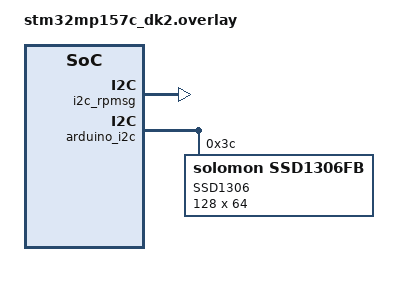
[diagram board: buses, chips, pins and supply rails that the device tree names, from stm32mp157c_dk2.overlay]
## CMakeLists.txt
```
cmake_minimum_required(VERSION 3.13.1)
# Copyright (c) 2019  STMicroelectronics
#
# SPDX-License-Identifier: Apache-2.0
#

set(SHIELD x_nucleo_iks01a2)

include($ENV{ZEPHYR_BASE}/cmake/app/boilerplate.cmake NO_POLICY_SCOPE)

project(openamp_rsc_table_remote)

zephyr_compile_definitions(
  -DMETAL_MAX_DEVICE_REGIONS=2
  -DVIRTIO_SLAVE_ONLY
  )

target_include_directories(app PRIVATE $ENV{ZEPHYR_BASE}/drivers)
target_include_directories(app PRIVATE ${LIBMETAL_INCLUDE_DIR} ${OPENAMP_INCLUDE_DIR} ${PLATFORM_DIR})

target_sources(app PRIVATE src/main_remote.c)
target_include_directories(app PRIVATE ${CMAKE_CURRENT_SOURCE_DIR}/..)
```

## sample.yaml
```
sample:
    description: This app provides an example of how to integrate OpenAMP
        with Zephyr in cluding a esource table.
    name: OpenAMP with resource table example integration
tests:
    sample.subsys.ipc.openamp_rs_table.i2c:
        build_only: true
        platform_whitelist: stm32mp157c_dk2
        tags: ipm
        depends_on: arduino_i2c
```

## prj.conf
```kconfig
CONFIG_KERNEL_BIN_NAME="zephyr_openamp_i2c"
CONFIG_PRINTK=n
CONFIG_IPM=y
CONFIG_IPM_MCUX=y
CONFIG_PLATFORM_SPECIFIC_INIT=n
CONFIG_MAIN_STACK_SIZE=4096
CONFIG_HEAP_MEM_POOL_SIZE=16384
CONFIG_OPENAMP=y
CONFIG_RSC_TABLE_NUM_RPMSG_BUFF=8
CONFIG_RSC_TABLE=y
CONFIG_I2C=y
CONFIG_I2C_STM32_INTERRUPT=y
CONFIG_I2C_RPMSG=y
CONFIG_I2C_SLAVE=y

# add display
CONFIG_DISPLAY=y
CONFIG_CFB_LOG_LEVEL_DBG=y
CONFIG_CHARACTER_FRAMEBUFFER=y
CONFIG_SSD1306=y

#sensor
CONFIG_SENSOR=y
CONFIG_HTS221=y
CONFIG_LPS22HB=y
CONFIG_HTS221_TRIGGER_NONE=y
CONFIG_LIS2MDL_TRIGGER_NONE=y
```

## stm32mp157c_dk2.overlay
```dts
/*
 * Copyright (c) 2019, STMICROLECTRONICS
 *
 * SPDX-License-Identifier: Apache-2.0
 */

/ {
	chosen {
		/*
		 * shared memory reserved for the inter-processor communication
		 */
		zephyr,ipc_shm = &mcusram3;
	};

	mcusram3: memory1@10040000 {
		compatible = "mmio-sram";
		reg = <0x10040000 DT_SIZE_K(64)>;
	};
};

&mcusram {
	reg = <0x10000000 DT_SIZE_K(256)>;
};

&i2c_rpmsg {
	status = "okay";
};

&arduino_i2c {
	status = "okay";
	ssd1306@3c {
		compatible = "solomon,ssd1306fb";
		reg = <0x3c>;
		label = "SSD1306";
		width = <128>;
		height = <64>;
		segment-offset = <0>;
		page-offset = <0>;
		display-offset = <0>;
		segment-remap;
		com-invdir;
		prechargep = <0x22>;
	};
};
```

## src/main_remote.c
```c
/*
 * Copyright (c) 2019, STMICROLECTRONICS
 *
 * SPDX-License-Identifier: Apache-2.0
 */

#include <init.h>
#include <zephyr.h>
#include <device.h>
#include <string.h>
#include <stdlib.h>
#include <string.h>
#include <stdio.h>
#include <drivers/sensor.h>

#include <ipm.h>

#include <drivers/i2c.h>

#include <openamp/open_amp.h>
#include <metal/device.h>
#include <resource_table.h>

/* Display / Framebuffer */
#include <display/cfb.h>
#if defined(CONFIG_SSD1306)
#define DISPLAY_DRIVER		"SSD1306"
#endif

#include <logging/log.h>
LOG_MODULE_REGISTER(openamp_rsc_table, LOG_LEVEL_DBG);

#define SHM_DEVICE_NAME	"shm"
#define I2C_RPMSG_DEV "RPMSG_I2C"
#define I2C_DEV "I2C_5"
#define I2C_REMOTE_DISP_ADDR 0x3D

/* constant derivated from linker symbols */
#define SHM_START_ADDR	DT_IPC_SHM_BASE_ADDRESS
#define SHM_SIZE	(DT_IPC_SHM_SIZE * 1024)

#define APP_TASK_STACK_SIZE (4096)
K_THREAD_STACK_DEFINE(thread_stack, APP_TASK_STACK_SIZE);
static struct k_thread thread_data;

static struct device *ipm_handle;
struct rpmsg_device *rpdev;

static struct device *dev_display;
static u16_t display_rows;
static u8_t display_ppt;
static u8_t display_font_width;
static u8_t display_font_height;
static bool display_available;
static struct device *i2c_dev;
static bool first_write;
static u8_t reg_addr;

static struct sensor_value temp1, temp2, hum, press;
static struct device *hts221;
static struct device *lps22hb;

static bool hts221_available = true;
static bool lps22hb_available = true;

static metal_phys_addr_t shm_physmap = SHM_START_ADDR;

struct metal_device shm_device = {
	.name = SHM_DEVICE_NAME,
	.num_regions = 2,
	.regions = {
		{.virt = NULL}, /* shared memory */
		{.virt = NULL}, /* rsc_table memory */
	},
	.node = { NULL },
	.irq_num = 0,
	.irq_info = NULL
};

static struct metal_io_region *shm_io;
static struct rpmsg_virtio_shm_pool shpool;

static struct metal_io_region *rsc_io;
static struct rpmsg_virtio_device rvdev;

static void *rsc_table;

static K_SEM_DEFINE(data_sem, 0, 1);

#define TEST_DATA_SIZE	20

void stop_display(void)
{
	display_blanking_on(dev_display);
}

static void platform_ipm_callback(void *context, u32_t id, volatile void *data)
{
	if (id == 2) {
		/* receive shutdown */
		stop_display();
		return;
	}

	LOG_ERR("IPM IRQ\n");
	k_sem_give(&data_sem);
}

static void receive_message(unsigned char **msg, unsigned int *len)
{
	unsigned int i = 1000;

	while (i) {
		if (k_sem_take(&data_sem, K_NO_WAIT) == 0) {
			rproc_virtio_notified(rvdev.vdev, VRING1_ID);
		} else {
			k_sleep(1);
			i--;
		}
	}
}

static void new_service_cb(struct rpmsg_device *rdev, const char *name,
			   uint32_t src)
{
	LOG_ERR("%s: unexpected ns service receive for name %s\n",
		__func__, name);
}

int mailbox_notify(void *priv, uint32_t id)
{
	ARG_UNUSED(priv);

	ipm_send(ipm_handle, 0, id, NULL, 0);
	LOG_DBG("%s: msg sent\n", __func__);

	return 0;
}

void init_sensors(void)
{
	/* search in devicetree if sensors are referenced */

#if CONFIG_HTS221
	hts221 = device_get_binding(DT_INST_0_ST_HTS221_LABEL);
	if (!hts221) {
		LOG_ERR("Could not get HTS221 device\n");
		hts221_available = false;
	}
#endif
#if CONFIG_LPS22HB
	lps22hb = device_get_binding(DT_INST_0_ST_LPS22HB_PRESS_LABEL);
	if (!lps22hb) {
		LOG_ERR("Could not get LPS22HB device\n");
		lps22hb_available = false;
	}
#endif

	/* set LSM6DSL accel/gyro sampling frequency to 104 Hz */
	struct sensor_value odr_attr;

	odr_attr.val1 = 104;
	odr_attr.val2 = 0;

}

void init_display(void)
{
	/* init display */
	dev_display = device_get_binding(DISPLAY_DRIVER);
	if (!dev_display) {
		LOG_ERR("Display Device not found\n");
	} else {
		display_available = true;

		if (display_set_pixel_format(dev_display,
					     PIXEL_FORMAT_MONO10) != 0) {
			LOG_ERR("Failed to set format PIXEL_FORMAT_MONO10\n");
			return;
		}
		if (cfb_framebuffer_init(dev_display)) {
			LOG_ERR("Framebuffer initialization failed!\n");
			return;
		}
		cfb_framebuffer_clear(dev_display, true);

		display_blanking_off(dev_display);

		display_rows = cfb_get_display_parameter(dev_display,
							 CFB_DISPLAY_ROWS);
		display_ppt = cfb_get_display_parameter(dev_display,
							CFB_DISPLAY_PPT);
		for (int idx = 0; idx < 42; idx++) {
			if (cfb_get_font_size(dev_display, idx,
					      &display_font_width,
					      &display_font_height)) {
				break;
			}
			cfb_framebuffer_set_font(dev_display, idx);
			LOG_DBG("idx: %d font width %d, font height %d\n",
				idx, display_font_width, display_font_height);
		}
		/* for idx: 0 font width 10, font height 16*/
		cfb_framebuffer_set_font(dev_display, 0);
		cfb_get_font_size(dev_display, 0, &display_font_width,
				  &display_font_height);

		LOG_DBG("x_res %d, y_res %d, ppt %d, rows %d, cols %d\n",
			cfb_get_display_parameter(dev_display, CFB_DISPLAY_WIDTH),
			cfb_get_display_parameter(dev_display, CFB_DISPLAY_HEIGH),
			display_ppt,
			display_rows,
			cfb_get_display_parameter(dev_display, CFB_DISPLAY_COLS));
	}
}

void init_remote_display(void)
{

	i2c_dev = device_get_binding(I2C_DEV);
}

int platform_init(void)
{
	void *rsc_tab_addr;
	int rsc_size;
	struct metal_device *device;
	struct metal_init_params metal_params = METAL_INIT_DEFAULTS;
	int status;

	status = metal_init(&metal_params);
	if (status) {
		LOG_ERR("metal_init: failed: %d\n", status);
		return -1;
	}

	status = metal_register_generic_device(&shm_device);
	if (status) {
		LOG_ERR("Couldn't register shared memory: %d\n", status);
		return -1;
	}

	status = metal_device_open("generic", SHM_DEVICE_NAME, &device);
	if (status) {
		LOG_ERR("metal_device_open failed: %d\n", status);
		return -1;
	}

	/* declare shared memory region */
	metal_io_init(&device->regions[0], (void *)SHM_START_ADDR, &shm_physmap,
		      SHM_SIZE, -1, 0, NULL);

	shm_io = metal_device_io_region(device, 0);
	if (!shm_io) {
		LOG_ERR("Failed to get shm_io region\n");
		return -1;
	}

	/* declare resource table region */
	rsc_table_get(&rsc_tab_addr, &rsc_size);
	rsc_table = (struct st_resource_table *)rsc_tab_addr;

	metal_io_init(&device->regions[1], rsc_table,
		      (metal_phys_addr_t *)rsc_table, rsc_size, -1, 0, NULL);

	rsc_io = metal_device_io_region(device, 1);
	if (!rsc_io) {
		LOG_ERR("Failed to get rsc_io region\n");
		return -1;
	}

	/* setup IPM */
	ipm_handle = device_get_binding("MAILBOX_0");
	if (!ipm_handle) {
		LOG_ERR("Failed to find ipm device\n");
		return -1;
	}

	ipm_register_callback(ipm_handle, platform_ipm_callback, NULL);

	status = ipm_set_enabled(ipm_handle, 1);
	if (status) {
		LOG_ERR("ipm_set_enabled failed\n");
		return -1;
	}

	return 0;
}

static void cleanup_system(void)
{
	ipm_set_enabled(ipm_handle, 0);
	rpmsg_deinit_vdev(&rvdev);
	metal_finish();
}

struct  rpmsg_device *
platform_create_rpmsg_vdev(unsigned int vdev_index,
			   unsigned int role,
			   void (*rst_cb)(struct virtio_device *vdev),
			   rpmsg_ns_bind_cb ns_cb)
{
	struct fw_rsc_vdev_vring *vring_rsc;
	struct virtio_device *vdev;
	int ret;

	vdev = rproc_virtio_create_vdev(VIRTIO_DEV_SLAVE, VDEV_ID,
					rsc_table_to_vdev(rsc_table),
					rsc_io, NULL, mailbox_notify, NULL);

	if (!vdev) {
		LOG_ERR("failed to create vdev\r\n");
		return NULL;
	}

	/* wait master rpmsg init completion */
	rproc_virtio_wait_remote_ready(vdev);

	vring_rsc = rsc_table_get_vring0(rsc_table);
	ret = rproc_virtio_init_vring(vdev, 0, vring_rsc->notifyid,
				      (void *)vring_rsc->da, rsc_io,
				      vring_rsc->num, vring_rsc->align);
	if (ret) {
		LOG_ERR("failed to init vring 0\r\n");
		goto failed;
	}

	vring_rsc = rsc_table_get_vring1(rsc_table);
	ret = rproc_virtio_init_vring(vdev, 1, vring_rsc->notifyid,
				      (void *)vring_rsc->da, rsc_io,
				      vring_rsc->num, vring_rsc->align);
	if (ret) {
		LOG_ERR("failed to init vring 1\r\n");
		goto failed;
	}

	rpmsg_virtio_init_shm_pool(&shpool, NULL, SHM_SIZE);
	ret =  rpmsg_init_vdev(&rvdev, vdev, ns_cb, shm_io, &shpool);

	if (ret) {
		LOG_ERR("failed rpmsg_init_vdev\r\n");
		goto failed;
	}

	return rpmsg_virtio_get_rpmsg_device(&rvdev);

failed:
	rproc_virtio_remove_vdev(vdev);

	return NULL;
}

static int rpmsg_slave_write_requested(struct i2c_slave_config *config)
{

	LOG_DBG("%s\n", __func__);
	first_write = true;

	return 0;
}

static int rpmsg_slave_read_requested(struct i2c_slave_config *config,
				      u8_t *val)
{
	LOG_DBG("%s: val=0x%x\n", __func__, *val);
	reg_addr = *val;
	/* Increment will be done in the read_processed callback */

	return 0;
}

static int rpmsg_slave_write_received(struct i2c_slave_config *config,
				      u8_t val)
{
	int ret;

	if (first_write) {
		reg_addr = val;
		first_write = false;
	} else {
		LOG_DBG("%s: write reg=0x%x val=0x%x\n", __func__, reg_addr,
			val);
		ret = i2c_reg_write_byte(i2c_dev, I2C_REMOTE_DISP_ADDR,
					 reg_addr, val);
		if (ret < 0)
			LOG_DBG("%s: failed to write reg=0x%x val=0x%x\n",
				__func__, reg_addr, val);
	}

	return 0;
}

static int rpmsg_slave_read_processed(struct i2c_slave_config *config,
				      u8_t *val)
{

	LOG_DBG("%s: reg=0x%x val=0x%x\n", __func__, reg_addr, *val);

	i2c_reg_read_byte(i2c_dev, I2C_REMOTE_DISP_ADDR, reg_addr++, val);

	/* Increment will be done in the next read_processed callback
	 * In case of STOP, the byte won't be taken in account
	 */

	return 0;
}

static int rpmsg_slave_stop(struct i2c_slave_config *config)
{

	LOG_DBG("%s: stop\n", __func__);
	first_write = true;

	return 0;
}

static const struct i2c_slave_callbacks i2c_rpmsg_callbacks = {
	.write_requested = rpmsg_slave_write_requested,
	.read_requested = rpmsg_slave_read_requested,
	.write_received = rpmsg_slave_write_received,
	.read_processed = rpmsg_slave_read_processed,
	.stop = rpmsg_slave_stop,
};

void app_task(void *arg1, void *arg2, void *arg3)
{
	ARG_UNUSED(arg1);
	ARG_UNUSED(arg2);
	ARG_UNUSED(arg3);
	unsigned char *msg;
	struct device *i2c_rpmsg_dev;
	struct i2c_slave_config config;
	int len;
	int ret = 0;
	char message[128];
	char display_buf[16];
	u8_t line = 0;

	LOG_INF("\r\nOpenAMP[remote] I2C demo started\n");
	i2c_rpmsg_dev = device_get_binding(I2C_RPMSG_DEV);

	config.address = I2C_REMOTE_DISP_ADDR;
	config.callbacks = &i2c_rpmsg_callbacks;

	/* Attach application Slave */
	ret = i2c_slave_register(i2c_rpmsg_dev, &config);
	if (ret) {
		LOG_ERR("Failed to register I2C SLAVE %#x\n", config.address);
		goto task_end;
	}

	init_remote_display();
	init_sensors();
	init_display();

	if (display_available) {
		line = 0;
		printk("--init display screen --\n");

		cfb_framebuffer_clear(dev_display, false);
		cfb_print(dev_display, "Zephyr", 0,
			  line++ * display_font_height);
		cfb_print(dev_display, "   Waiting ", 0,
			  line++ * display_font_height);
		cfb_print(dev_display, "     TTY   ", 0,
			  line++ * display_font_height);
		cfb_print(dev_display, "    data   ", 0,
			  line++ * display_font_height);
		cfb_framebuffer_finalize(dev_display);
	}

	while (1) {
		unsigned int line = 0;

		if (display_available)
			cfb_framebuffer_clear(dev_display, false);

		/* Get sensor samples */
		if (hts221_available && sensor_sample_fetch(hts221) < 0)
			printf("HTS221 Sensor sample update error\n");
		if (lps22hb_available && sensor_sample_fetch(lps22hb) < 0)
			printf("LPS22HB Sensor sample update error\n");

		/* Get sensor data */
		if (hts221_available) {
			sensor_channel_get(hts221, SENSOR_CHAN_AMBIENT_TEMP,
					   &temp1);
			sensor_channel_get(hts221, SENSOR_CHAN_HUMIDITY, &hum);
		}
		if (lps22hb_available) {
			sensor_channel_get(lps22hb, SENSOR_CHAN_PRESS, &press);
			sensor_channel_get(lps22hb, SENSOR_CHAN_AMBIENT_TEMP,
					   &temp2);
		}

		receive_message(&msg, &len);
		/* Display sensor data */

		/* Erase previous */
		if (display_available)
			cfb_print(dev_display, "Zephyr", 0,
				  line++ * display_font_height);

		if (hts221_available) {
			/* temperature */
			snprintf(display_buf, sizeof(display_buf), "T: %1f C",
				 sensor_value_to_double(&temp1));
			if (display_available)
				cfb_print(dev_display, display_buf, 0,
					  line++ * display_font_height);

			/* humidity */
			snprintf(display_buf, sizeof(display_buf), "H: %1f%%",
				 sensor_value_to_double(&hum));
			if (display_available)
				cfb_print(dev_display, display_buf, 0,
					  line++ * display_font_height);
		}

		if (lps22hb_available) {
			/* pressure */
			/* lps22hb temperature */
			len = snprintf(message, sizeof(message),
				       "LPS22HB: Temperature: %.1f C\n",
				       sensor_value_to_double(&temp2));

			snprintf(display_buf, sizeof(display_buf), "P: %3f kpa",
				 sensor_value_to_double(&press) * 10.0);
			if (display_available)
				cfb_print(dev_display, display_buf, 0,
					  line++ * display_font_height);
		}

		if (display_available)
			cfb_framebuffer_finalize(dev_display);

		receive_message(&msg, &len);
	}

task_end:
	cleanup_system();

	printk("sensor task ended\n");
}

static int openamp_init(struct device *dev)
{
	int ret;

	/* Initialize platform */
	ret = platform_init();
	if (ret) {
		LOG_ERR("Failed to initialize platform\n");
		goto error_case;
	}

	rpdev = platform_create_rpmsg_vdev(0, VIRTIO_DEV_SLAVE, NULL,
					   new_service_cb);
	if (!rpdev) {
		LOG_ERR("Failed to create rpmsg virtio device\n");
		goto error_case;
	}

	LOG_DBG("Init OpenAMP rpdev = %p\n", rpdev);
	return 0;

error_case:
	cleanup_system();

	return 1;
}

void main(void)
{

	k_thread_create(&thread_data, thread_stack, APP_TASK_STACK_SIZE,
			(k_thread_entry_t)app_task,
			NULL, NULL, NULL, K_PRIO_COOP(7), 0, 0);

}

SYS_INIT(openamp_init, POST_KERNEL, CONFIG_KERNEL_INIT_PRIORITY_DEVICE);
```
